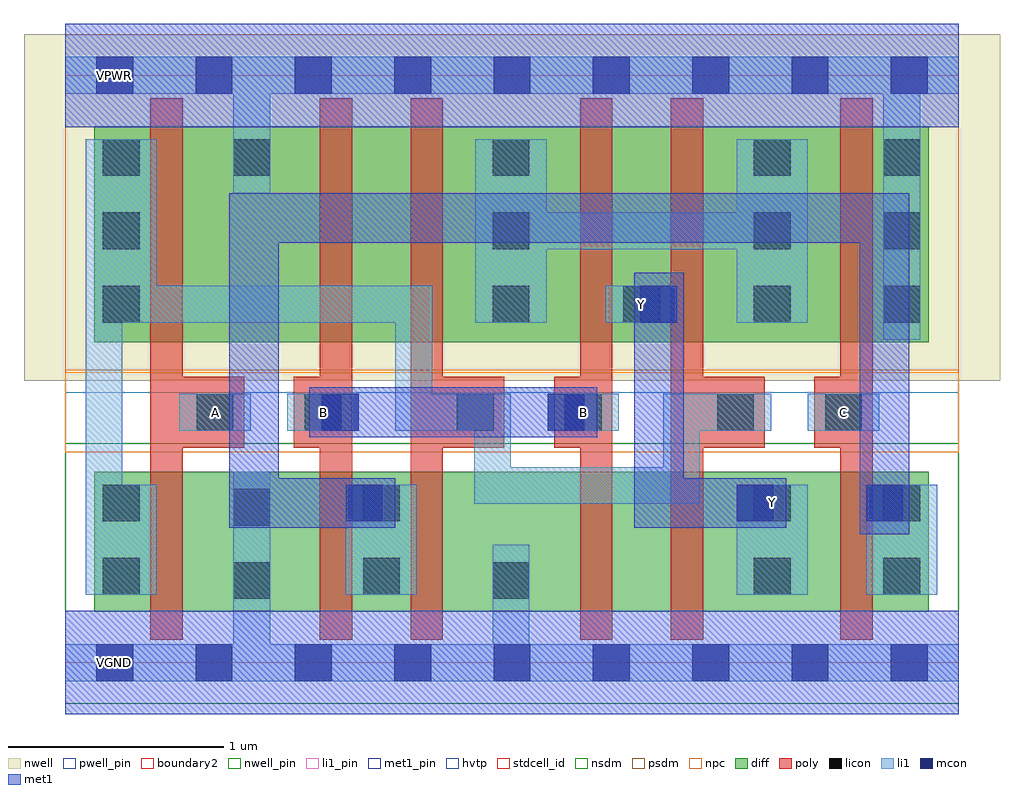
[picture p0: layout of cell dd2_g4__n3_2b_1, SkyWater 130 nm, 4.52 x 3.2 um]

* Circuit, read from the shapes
.subckt dd2_g4__n3_2b_1 A B C VGND VNB VPB VPWR Y
XM1 VGND A n1 VNB sky130_fd_pr__nfet_01v8 w=0.65 l=0.15
XM2 n2 B VGND VNB sky130_fd_pr__nfet_01v8 w=0.65 l=0.15
XM3 VGND n1 n2 VNB sky130_fd_pr__nfet_01v8 w=0.65 l=0.15
XM4 n3 B VGND VNB sky130_fd_pr__nfet_01v8 w=0.65 l=0.15
XM5 Y n1 n3 VNB sky130_fd_pr__nfet_01v8 w=0.65 l=0.15
XM6 n2 C Y VNB sky130_fd_pr__nfet_01v8 w=0.65 l=0.15
XM7 VPWR A n1 VPB sky130_fd_pr__pfet_01v8_hvt w=1 l=0.15
XM8 n4 B VPWR VPB sky130_fd_pr__pfet_01v8_hvt w=1 l=0.15
XM9 n5 n1 n4 VPB sky130_fd_pr__pfet_01v8_hvt w=1 l=0.15
XM10 Y B n5 VPB sky130_fd_pr__pfet_01v8_hvt w=1 l=0.15
XM11 n5 n1 Y VPB sky130_fd_pr__pfet_01v8_hvt w=1 l=0.15
XM12 VPWR C n5 VPB sky130_fd_pr__pfet_01v8_hvt w=1 l=0.15
.ends

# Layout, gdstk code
import gdstk
lib = gdstk.Library(unit=1e-6, precision=1e-09)
def R(c, l, rs):  # rectangles x0, y0, x1, y1
    for r in rs: c.add(gdstk.rectangle(r[:2], r[2:], *l))
def A(c, l, x, y, w, h, nx, ny, dx, dy):  # array of equal rectangles
    R(c, l, [(x+i*dx, y+j*dy, x+i*dx+w, y+j*dy+h) for i in range(nx) for j in range(ny)])
nwell_pin = (64, 16)
nwell = (64, 20)
diff = (65, 20)
poly = (66, 20)
licon = (66, 44)
li1_pin = (67, 16)
li1 = (67, 20)
mcon = (67, 44)
met1_pin = (68, 16)
met1 = (68, 20)
hvtp = (78, 44)
stdcell_id = (81, 4)
nsdm = (93, 44)
psdm = (94, 20)
npc = (95, 20)
pwell_pin = (122, 16)
boundary2 = (236, 0)

dd2_g4__n3_2b_1 = lib.new_cell('dd2_g4__n3_2b_1')
R(dd2_g4__n3_2b_1, nwell_pin, [(0.145,2.635,0.315,2.805)])
R(dd2_g4__n3_2b_1, nwell, [(-0.19,1.305,4.33,2.91)])
R(dd2_g4__n3_2b_1, diff, [(0.135,0.235,0.86,0.885), (0.86,0.235,1.465,0.885), (1.465,0.235,2.065,0.885), (2.065,0.235,2.67,0.885), (2.67,0.235,3.27,0.885), (3.27,0.235,4,0.885), (0.135,1.485,0.86,2.485), (0.86,1.485,1.465,2.485), (1.465,1.485,2.065,2.485), (2.065,1.485,2.67,2.485), (2.67,1.485,3.27,2.485), (3.27,1.485,4,2.485)])
A(dd2_g4__n3_2b_1, poly, 0.395, 0.995, 0.435, 0.33, 3, 1, 1.205, 0)
A(dd2_g4__n3_2b_1, poly, 1.06, 0.995, 0.27, 0.33, 3, 1, 1.205, 0)
R(dd2_g4__n3_2b_1, poly, [(0.395,0.105,0.545,2.615), (1.18,0.105,1.33,2.615), (1.6,0.105,1.75,2.615), (2.385,0.105,2.535,2.615), (2.805,0.105,2.955,2.615), (3.59,0.105,3.74,2.615)])
A(dd2_g4__n3_2b_1, licon, 0.175, 1.575, 0.17, 0.17, 1, 3, 0, 0.34)
A(dd2_g4__n3_2b_1, licon, 1.98, 1.575, 0.17, 0.17, 3, 1, 0.605, 0)
A(dd2_g4__n3_2b_1, licon, 3.79, 1.575, 0.17, 0.17, 1, 3, 0, 0.34)
R(dd2_g4__n3_2b_1, licon, [(0.78,0.295,0.95,0.465), (1.98,0.295,2.15,0.465), (0.175,0.315,0.345,0.485), (1.38,0.315,1.55,0.485), (3.19,0.315,3.36,0.485), (3.79,0.315,3.96,0.485), (0.78,0.635,0.95,0.805), (0.175,0.655,0.345,0.825), (1.38,0.655,1.55,0.825), (3.19,0.655,3.36,0.825), (3.79,0.655,3.96,0.825), (0.61,1.075,0.78,1.245), (1.11,1.075,1.28,1.245), (1.815,1.075,1.985,1.245), (2.315,1.075,2.485,1.245), (3.02,1.075,3.19,1.245), (3.52,1.075,3.69,1.245), (1.98,1.915,2.15,2.085), (3.19,1.915,3.36,2.085), (0.78,2.255,0.95,2.425), (1.98,2.255,2.15,2.425), (3.19,2.255,3.36,2.425)])
A(dd2_g4__n3_2b_1, li1_pin, 1.11, 1.075, 0.17, 0.17, 3, 1, 1.205, 0)
R(dd2_g4__n3_2b_1, li1_pin, [(3.19,0.655,3.36,0.825), (0.61,1.075,0.78,1.245), (2.585,1.575,2.755,1.745)])
A(dd2_g4__n3_2b_1, li1, 1.9, 1.575, 0.33, 0.17, 3, 1, 0.605, 0)
R(dd2_g4__n3_2b_1, li1, [(0,-0.085,4.14,0.085), (0.78,-0.085,0.95,0.545), (1.98,-0.085,2.15,0.545), (0.78,0.295,0.95,0.885), (0.095,0.315,0.425,0.825), (1.3,0.315,1.63,0.825), (3.11,0.315,3.44,0.825), (3.71,0.315,4.04,0.825), (0.095,0.655,0.425,0.825), (0.095,0.655,0.265,1.745), (1.3,0.655,1.63,0.825), (3.11,0.655,3.44,0.825), (3.71,0.655,4.04,0.825), (1.895,0.735,2.065,1.245), (1.895,0.735,2.94,0.905), (2.77,0.735,2.94,1.245), (0.53,1.075,0.86,1.245), (1.03,1.075,1.36,1.245), (1.53,1.075,1.905,1.245), (1.53,1.075,1.7,1.745), (1.7,1.075,1.735,1.245), (1.7,1.075,1.735,1.245), (1.7,1.075,1.735,1.245), (1.7,1.075,1.735,1.245), (1.7,1.075,1.735,1.245), (1.7,1.075,1.735,1.245), (1.7,1.075,1.735,1.245), (1.7,1.075,1.735,1.245), (1.735,1.075,2.065,1.245), (1.735,1.075,1.895,1.245), (1.735,1.075,1.895,1.245), (1.735,1.075,1.895,1.245), (1.735,1.075,1.895,1.245), (1.735,1.075,1.895,1.245), (1.735,1.075,1.895,1.245), (1.735,1.075,1.895,1.245), (2.235,1.075,2.565,1.245), (2.77,1.075,3.11,1.245), (2.94,1.075,3.27,1.245), (3.44,1.075,3.77,1.245), (3.79,1.495,3.96,2.085), (0.095,1.575,0.425,1.745), (0.095,1.575,0.425,2.085), (0.255,1.575,1.7,1.745), (1.9,1.575,2.23,2.085), (2.06,1.575,2.23,2.085), (3.11,1.575,3.28,2.085), (3.11,1.575,3.44,2.085), (3.79,1.835,3.96,2.425), (0.095,1.915,0.425,2.425), (1.9,1.915,2.23,2.425), (2.06,1.915,3.28,2.085), (3.11,1.915,3.44,2.425), (3.79,2.085,3.96,2.175), (3.79,2.085,3.96,2.175), (3.79,2.085,3.96,2.175), (3.79,2.085,3.96,2.175), (0.78,2.175,0.95,2.805), (3.79,2.175,3.96,2.805), (0,2.635,4.14,2.805)])
A(dd2_g4__n3_2b_1, mcon, 0.145, -0.085, 0.17, 0.17, 9, 2, 0.46, 2.72)
R(dd2_g4__n3_2b_1, mcon, [(1.3,0.655,1.47,0.825), (3.11,0.655,3.28,0.825), (3.71,0.655,3.88,0.825), (1.19,1.075,1.36,1.245), (2.235,1.075,2.405,1.245), (2.665,1.575,2.835,1.745)])
R(dd2_g4__n3_2b_1, met1_pin, [(0.145,-0.085,0.315,0.085), (0.145,2.635,0.315,2.805)])
R(dd2_g4__n3_2b_1, met1, [(0,-0.24,4.14,0.24), (3.68,0.595,3.91,0.885), (0.76,0.625,1.5,0.855), (0.76,0.625,0.99,2.175), (1.24,0.625,1.53,0.855), (2.635,0.625,3.31,0.855), (2.635,0.625,2.865,1.775), (3.05,0.625,3.34,0.855), (3.68,0.625,3.91,2.175), (1.13,1.045,1.42,1.275), (1.16,1.045,2.435,1.275), (2.175,1.045,2.465,1.275), (2.635,1.515,2.865,1.805), (0.76,1.945,3.91,2.175), (0,2.48,4.14,2.96)])
R(dd2_g4__n3_2b_1, hvtp, [(0,1.25,4.14,2.72)])
R(dd2_g4__n3_2b_1, stdcell_id, [(0,0,4.14,2.72)])
R(dd2_g4__n3_2b_1, nsdm, [(0,-0.19,4.14,1.015)])
R(dd2_g4__n3_2b_1, psdm, [(0,1.355,4.14,2.91)])
R(dd2_g4__n3_2b_1, npc, [(0,0.975,4.14,1.345)])
R(dd2_g4__n3_2b_1, pwell_pin, [(0.145,-0.085,0.315,0.085)])
R(dd2_g4__n3_2b_1, boundary2, [(0,0,4.14,2.72)])
dd2_g4__n3_2b_1.add(gdstk.Label('A', (0.695,1.16), layer=67, texttype=5))
dd2_g4__n3_2b_1.add(gdstk.Label('B', (1.195,1.16), layer=67, texttype=5))
dd2_g4__n3_2b_1.add(gdstk.Label('B', (2.4,1.16), layer=67, texttype=5))
dd2_g4__n3_2b_1.add(gdstk.Label('C', (3.605,1.16), layer=67, texttype=5))
dd2_g4__n3_2b_1.add(gdstk.Label('Y', (3.275,0.74), layer=67, texttype=5))
dd2_g4__n3_2b_1.add(gdstk.Label('Y', (2.67,1.66), layer=67, texttype=5))
dd2_g4__n3_2b_1.add(gdstk.Label('VGND', (0.23,0), layer=68, texttype=5))
dd2_g4__n3_2b_1.add(gdstk.Label('VPWR', (0.23,2.72), layer=68, texttype=5))
dd2_g4__n3_2b_1.add(gdstk.Label('VPB', (0.23,2.72), layer=64, texttype=5))
dd2_g4__n3_2b_1.add(gdstk.Label('VNB', (0.23,0), layer=64, texttype=59))

lib.write_gds('dd2_g4__n3_2b_1.gds')
